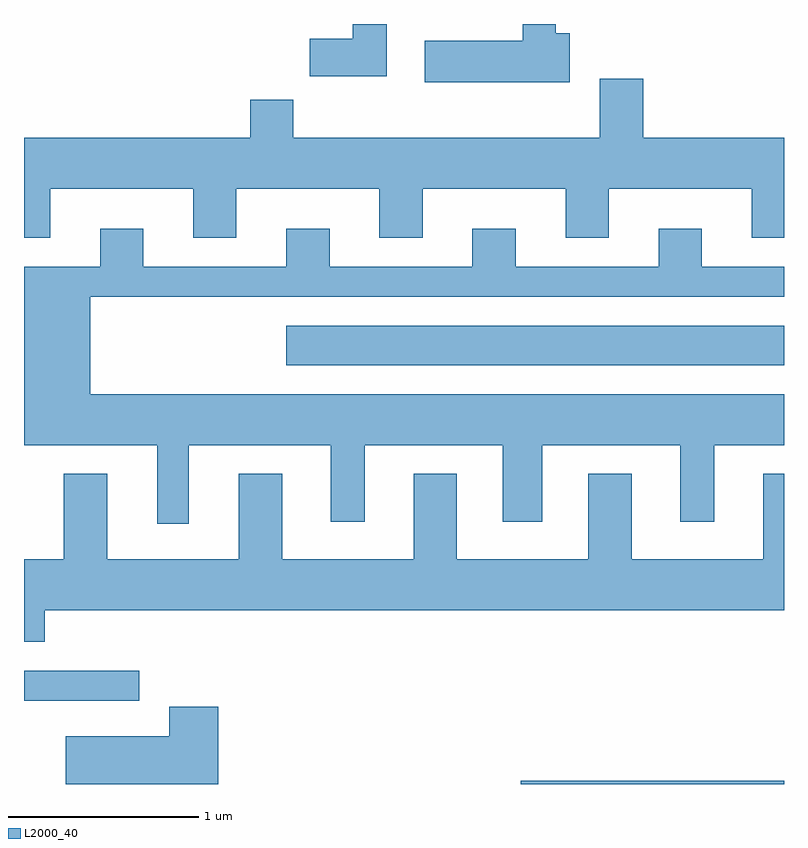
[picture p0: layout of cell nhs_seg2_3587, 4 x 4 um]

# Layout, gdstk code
import gdstk
lib = gdstk.Library(unit=1e-6, precision=1e-09)
def R(c, l, rs):  # rectangles x0, y0, x1, y1
    for r in rs: c.add(gdstk.rectangle(r[:2], r[2:], *l))
def P(c, l, *ps):  # polygons
    for p in ps: c.add(gdstk.Polygon(p, *l))
L2000_40 = (2000, 40)

nhs_seg2_3587 = lib.new_cell('nhs_seg2_3587')
R(nhs_seg2_3587, L2000_40, [(292.226,1091.802,293.611,1091.819), (289.611,1092.241,290.218,1092.399), (290.991,1094.006,293.611,1094.214)])
P(nhs_seg2_3587, L2000_40, [(291.519,1095.802),(291.341,1095.802),(291.341,1095.724),(291.116,1095.724),(291.116,1095.526),(291.519,1095.526)],
  [(292.484,1095.754),(292.409,1095.754),(292.409,1095.802),(292.236,1095.802),(292.236,1095.714),(291.721,1095.714),(291.721,1095.496),(292.484,1095.496)],
  [(289.749,1094.936),(290.501,1094.936),(290.501,1094.676),(290.729,1094.676),(290.729,1094.936),(291.481,1094.936),(291.481,1094.676),(291.709,1094.676),(291.709,1094.936),(292.461,1094.936),(292.461,1094.676),(292.689,1094.676),(292.689,1094.936),(293.441,1094.936),(293.441,1094.676),(293.611,1094.676),(293.611,1095.204),(292.869,1095.204),(292.869,1095.514),(292.641,1095.514),(292.641,1095.204),(291.029,1095.204),(291.029,1095.404),(290.801,1095.404),(290.801,1095.204),(289.611,1095.204),(289.611,1094.676),(289.749,1094.676)],
  [(290.479,1093.586),(291.226,1093.586),(291.226,1093.181),(291.404,1093.181),(291.404,1093.586),(292.131,1093.586),(292.131,1093.181),(292.339,1093.181),(292.339,1093.586),(293.066,1093.586),(293.066,1093.181),(293.244,1093.181),(293.244,1093.586),(293.611,1093.586),(293.611,1093.854),(289.959,1093.854),(289.959,1094.366),(293.611,1094.366),(293.611,1094.524),(293.179,1094.524),(293.179,1094.724),(292.951,1094.724),(292.951,1094.524),(292.199,1094.524),(292.199,1094.724),(291.971,1094.724),(291.971,1094.524),(291.219,1094.524),(291.219,1094.724),(290.991,1094.724),(290.991,1094.524),(290.239,1094.524),(290.239,1094.724),(290.011,1094.724),(290.011,1094.524),(289.611,1094.524),(289.611,1093.586),(290.311,1093.586),(290.311,1093.173),(290.479,1093.173)],
  [(289.719,1092.716),(293.611,1092.716),(293.611,1093.434),(293.501,1093.434),(293.501,1092.984),(292.809,1092.984),(292.809,1093.434),(292.581,1093.434),(292.581,1092.984),(291.889,1092.984),(291.889,1093.434),(291.661,1093.434),(291.661,1092.984),(290.969,1092.984),(290.969,1093.434),(290.741,1093.434),(290.741,1092.984),(290.049,1092.984),(290.049,1093.434),(289.821,1093.434),(289.821,1092.984),(289.611,1092.984),(289.611,1092.551),(289.719,1092.551)],
  [(290.634,1092.209),(290.376,1092.209),(290.376,1092.054),(289.831,1092.054),(289.831,1091.802),(290.634,1091.802)])

lib.write_gds('nhs_seg2_3587.gds')
